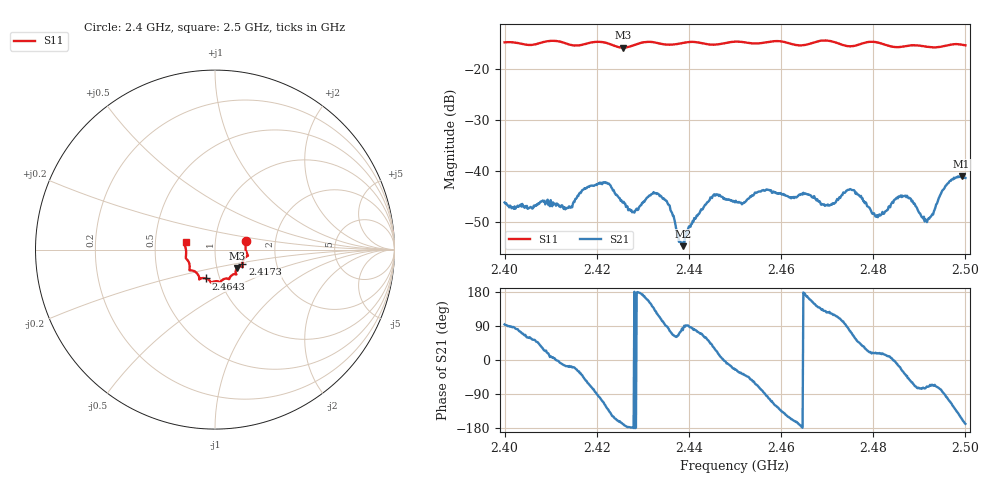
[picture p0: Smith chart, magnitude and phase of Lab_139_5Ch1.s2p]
# Hz S RI R 50
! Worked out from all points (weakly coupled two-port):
!   601 points, 2.4 GHz to 2.5 GHz, reference 50 ohm
!   highest |S21| = -41.10 dB at 2.4992 GHz (marker M1); lowest = -54.8 dB at 2.4387 GHz (marker M2)
!   lowest |S11| = -15.9 dB at 2.4257 GHz (marker M3), VSWR 1.38, Z = 62.5 - j13.1 ohm
!   |S11| at or under -10 dB: start of sweep to end of sweep
!   S12 and S22 are empty: the file has one direction only
!   S11 on the Smith chart (normalised r, x): 2.4 GHz: 1.41, +0.14; 2.4173 GHz: 1.34, -0.23; 2.4643 GHz: 0.86, -0.28; 2.5 GHz: 0.72, +0.06
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2.4e9  0.1732 0.0497  -0.000328 0.00487  0 0  0 0
2.413333e9  0.1706 -0.042  0.00414 -0.00121  0 0  0 0
2.416667e9  0.1529 -0.0748  0.00486 -0.00389  0 0  0 0
2.417333e9  0.1523 -0.0822  0.00435 -0.00512  0 0  0 0
2.422167e9  0.1509 -0.0941  -0.00451 -0.00614  0 0  0 0
2.425667e9  0.1228 -0.1026  -0.00476 -0.000921  0 0  0 0
2.428e9  0.115 -0.124  -0.00396 -3.5e-05  0 0  0 0
2.433333e9  0.1125 -0.1365  -0.00276 0.00521  0 0  0 0
2.438667e9  0.0816 -0.1581  0.000357 0.00179  0 0  0 0
2.445167e9  0.0542 -0.1623  0.00459 0.0033  0 0  0 0
2.45e9  0.0294 -0.181  0.00442 -0.00212  0 0  0 0
2.464333e9  -0.0504 -0.1607  -0.00586 -0.000607  0 0  0 0
2.466667e9  -0.0765 -0.1598  -0.00497 0.00236  0 0  0 0
2.4705e9  -0.0872 -0.1649  -0.00274 0.00363  0 0  0 0
2.475333e9  -0.1097 -0.1236  0.00211 0.00612  0 0  0 0
2.4805e9  -0.1428 -0.1121  0.00335 0.00117  0 0  0 0
2.483333e9  -0.1409 -0.0896  0.00436 0.000735  0 0  0 0
2.487e9  -0.1559 -0.0564  0.00443 -0.00355  0 0  0 0
2.491667e9  -0.1609 -0.0284  0.00107 -0.00294  0 0  0 0
2.496167e9  -0.1678 0.021  -0.00158 -0.00732  0 0  0 0
2.499167e9  -0.1675 0.0367  -0.00793 -0.00384  0 0  0 0
2.5e9  -0.1634 0.0412  -0.00832 -0.00169  0 0  0 0
